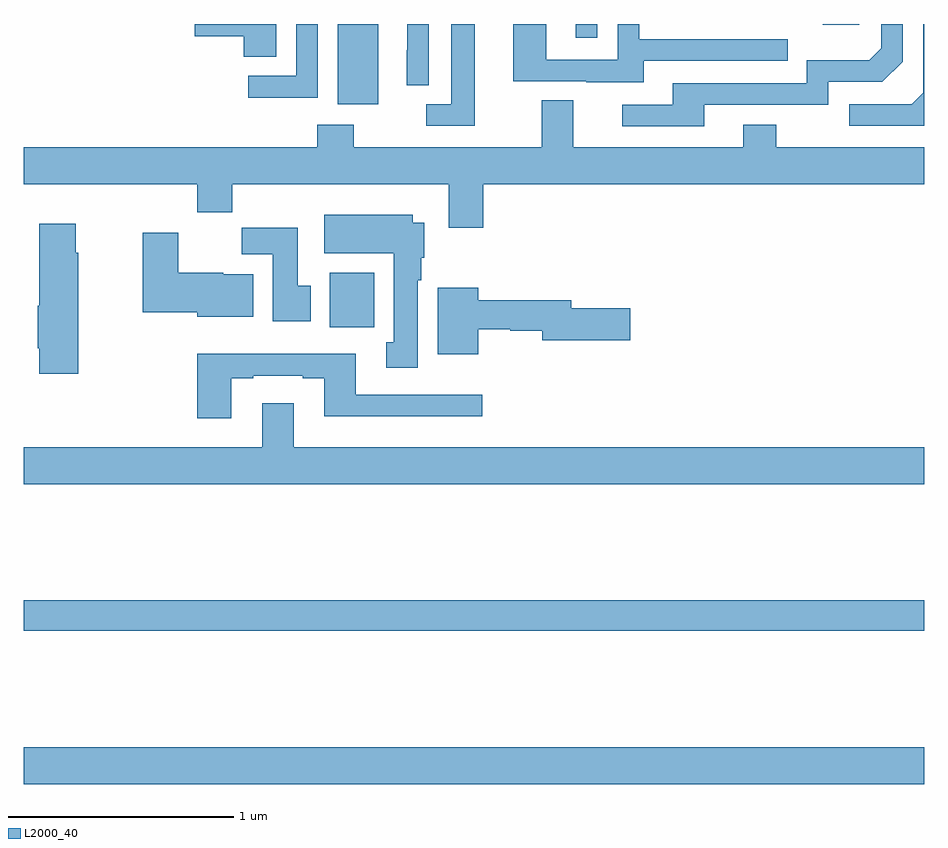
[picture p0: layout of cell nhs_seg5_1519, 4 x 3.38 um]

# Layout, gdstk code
import gdstk
lib = gdstk.Library(unit=1e-6, precision=1e-09)
def R(c, l, rs):  # rectangles x0, y0, x1, y1
    for r in rs: c.add(gdstk.rectangle(r[:2], r[2:], *l))
def P(c, l, *ps):  # polygons
    for p in ps: c.add(gdstk.Polygon(p, *l))
L2000_40 = (2000, 40)

nhs_seg5_1519 = lib.new_cell('nhs_seg5_1519')
R(nhs_seg5_1519, L2000_40, [(203,859.424,207,859.588), (203,860.104,207,860.24), (204.359,861.452,204.556,861.694), (204.395,862.442,204.574,862.799), (205.451,862.737,205.548,862.799), (206.549,862.796,206.71,862.799)])
P(nhs_seg5_1519, L2000_40, [(205.003,862.799),(204.899,862.799),(204.899,862.443),(204.789,862.443),(204.789,862.347),(205.003,862.347)],
  [(204.121,862.799),(203.76,862.799),(203.76,862.745),(203.978,862.745),(203.978,862.654),(204.121,862.654)],
  [(207,862.799),(206.994,862.799),(206.994,862.494),(206.943,862.443),(206.667,862.443),(206.667,862.347),(207,862.347)],
  [(204.798,862.799),(204.704,862.799),(204.704,862.682),(204.702,862.682),(204.702,862.528),(204.798,862.528)],
  [(206.023,862.44),(206.574,862.44),(206.574,862.542),(206.814,862.542),(206.904,862.632),(206.904,862.799),(206.808,862.799),(206.808,862.692),(206.755,862.639),(206.478,862.639),(206.478,862.536),(205.883,862.536),(205.883,862.44),(205.659,862.44),(205.659,862.344),(206.023,862.344)],
  [(205.753,862.635),(206.393,862.635),(206.393,862.731),(205.734,862.731),(205.734,862.799),(205.638,862.799),(205.638,862.641),(205.32,862.641),(205.32,862.799),(205.175,862.799),(205.175,862.545),(205.499,862.545),(205.499,862.541),(205.753,862.541)],
  [(204.306,862.799),(204.21,862.799),(204.21,862.569),(203.997,862.569),(203.997,862.471),(204.306,862.471)],
  [(205.04,862.088),(207,862.088),(207,862.252),(206.343,862.252),(206.343,862.351),(206.195,862.351),(206.195,862.252),(205.441,862.252),(205.441,862.46),(205.301,862.46),(205.301,862.252),(204.465,862.252),(204.465,862.351),(204.305,862.351),(204.305,862.252),(203,862.252),(203,862.088),(203.771,862.088),(203.771,861.964),(203.927,861.964),(203.927,862.088),(204.887,862.088),(204.887,861.894),(205.04,861.894)],
  [(204.751,861.662),(204.766,861.662),(204.766,861.762),(204.778,861.762),(204.778,861.916),(204.727,861.916),(204.727,861.952),(204.335,861.952),(204.335,861.782),(204.644,861.782),(204.644,861.386),(204.611,861.386),(204.611,861.273),(204.751,861.273)],
  [(203.242,861.783),(203.232,861.783),(203.232,861.913),(203.069,861.913),(203.069,861.547),(203.062,861.547),(203.062,861.358),(203.069,861.358),(203.069,861.246),(203.242,861.246)],
  [(204.274,861.636),(204.217,861.636),(204.217,861.894),(203.968,861.894),(203.968,861.776),(204.107,861.776),(204.107,861.48),(204.274,861.48)],
  [(204.019,861.688),(203.886,861.688),(203.886,861.694),(203.686,861.694),(203.686,861.871),(203.528,861.871),(203.528,861.518),(203.772,861.518),(203.772,861.5),(204.019,861.5)],
  [(205.018,861.444),(205.161,861.444),(205.161,861.436),(205.304,861.436),(205.304,861.394),(205.693,861.394),(205.693,861.536),(205.432,861.536),(205.432,861.572),(205.018,861.572),(205.018,861.628),(204.839,861.628),(204.839,861.332),(205.018,861.332)],
  [(203.923,861.225),(204.019,861.225),(204.019,861.237),(204.239,861.237),(204.239,861.225),(204.335,861.225),(204.335,861.056),(205.036,861.056),(205.036,861.153),(204.475,861.153),(204.475,861.334),(203.771,861.334),(203.771,861.048),(203.923,861.048)],
  [(207,860.92),(204.199,860.92),(204.199,861.115),(204.059,861.115),(204.059,860.92),(203,860.92),(203,860.756),(207,860.756)])

lib.write_gds('nhs_seg5_1519.gds')
